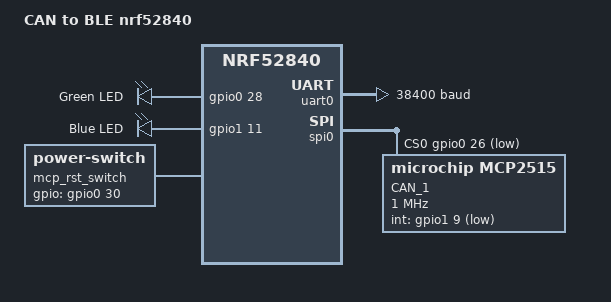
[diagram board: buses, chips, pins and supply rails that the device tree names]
/dts-v1/;
#include <nordic/nrf52840_qfaa.dtsi>
#include "goprocan_nrf52840-pinctrl.dtsi"

/ {
	model = "CAN to BLE nrf52840";
	compatible = "vend,goprocan-nrf52840";

	chosen {
		zephyr,sram = &sram0;
		zephyr,flash = &flash0;
		zephyr,code-partition = &slot0_partition;
		zephyr,canbus = &canbus;
	};

	aliases {
		led0 = &led0;
		led1 = &led1;
		cannode = &canbus;
	};

	leds {
		compatible = "gpio-leds";
		led0: led_0 {
			gpios = <&gpio0 28 GPIO_ACTIVE_HIGH>;
			label = "Green LED";
		};
		led1: led_1 {
			gpios = <&gpio1 11 GPIO_ACTIVE_HIGH>;
			label = "Blue LED";
		};
	};

	mcp_rst_switch: mcp_rst_switch {
		compatible = "power-switch";
		gpios = <&gpio0 30 GPIO_ACTIVE_HIGH>;
	};

};

&uart0 {
	pinctrl-0 = <&uart0_default>;
	pinctrl-1 = <&uart0_sleep>;
	pinctrl-names = "default", "sleep";
	current-speed = <38400>;
	status = "okay";
};

&gpio1 {
	status = "okay";
	label = "GPIO_1";
};

&gpio0 {
	status = "okay";
	label = "GPIO_0";
};

&gpiote {
    status = "okay";
};

&spi0{
    compatible = "nordic,nrf-spi";
    status = "okay";
    cs-gpios = <&gpio0 26 GPIO_ACTIVE_LOW>;
    pinctrl-0 = <&spi0_default>;
    pinctrl-1 = <&spi0_sleep>;
    pinctrl-names = "default","sleep";

    canbus:mcp2515@0 {
		compatible = "microchip,mcp2515";
		spi-max-frequency = <1000000>;
		int-gpios = <&gpio1 9 (GPIO_ACTIVE_LOW)>; 
		status = "okay";
		label = "CAN_1";
		reg = <0x0>;
		osc-freq = <8000000>;
		can-transceiver {
			min-bitrate = <125000>;
			max-bitrate = <1000000>;
		};

	};
};

&flash0 {
	partitions {
		compatible = "fixed-partitions";
		#address-cells = <1>;
		#size-cells = <1>;

		boot_partition: partition@0 {
			label = "mcuboot";
			reg = <0x00000000 DT_SIZE_K(48)>;
		};

		slot0_partition: partition@c000 {
			label = "image-0";
			reg = <0x0000c000 DT_SIZE_K(472)>;
		};

		slot1_partition: partition@82000 {
			label = "image-1";
			reg = <0x00082000 DT_SIZE_K(472)>;
		};

		storage_partition: partition@f8000 {
			label = "storage";
			reg = <0x000f8000 DT_SIZE_K(32)>;
		};
	};
};

